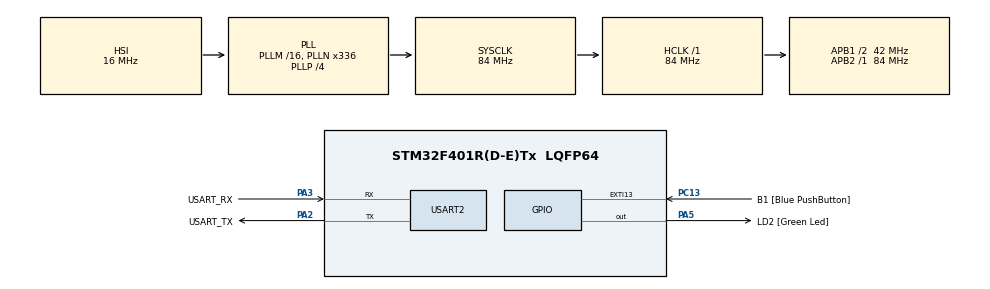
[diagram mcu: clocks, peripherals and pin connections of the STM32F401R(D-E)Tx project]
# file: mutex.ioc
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FREERTOS.Tasks01=defaultTask,0,128,StartDefaultTask,Default,NULL,Dynamic,NULL,NULL
FREERTOS.configUSE_NEWLIB_REENTRANT=1
Mcu.Family=STM32F4
Mcu.Name=STM32F401R(D-E)Tx
Mcu.Package=LQFP64
NVIC.PriorityGroup=NVIC_PRIORITYGROUP_4
NVIC.TIM1_UP_TIM10_IRQn=true\:15\:0\:false\:false\:true\:false\:false\:true\:true
NVIC.TimeBase=TIM1_UP_TIM10_IRQn
NVIC.TimeBaseIP=TIM1
PA13.GPIO_Label=TMS
PA13.Signal=SYS_JTMS-SWDIO
PA14.GPIO_Label=TCK
PA14.Signal=SYS_JTCK-SWCLK
PA2.GPIO_Label=USART_TX
PA2.GPIO_Mode=GPIO_MODE_AF_PP
PA2.GPIO_PuPd=GPIO_NOPULL
PA2.GPIO_Speed=GPIO_SPEED_FREQ_LOW
PA2.Mode=Asynchronous
PA2.Signal=USART2_TX
PA3.GPIO_Label=USART_RX
PA3.GPIO_Mode=GPIO_MODE_AF_PP
PA3.GPIO_PuPd=GPIO_NOPULL
PA3.GPIO_Speed=GPIO_SPEED_FREQ_LOW
PA3.Mode=Asynchronous
PA3.Signal=USART2_RX
PA5.GPIO_Label=LD2 [Green Led]
PA5.GPIO_Mode=GPIO_MODE_OUTPUT_PP
PA5.GPIO_PuPd=GPIO_NOPULL
PA5.GPIO_Speed=GPIO_SPEED_FREQ_LOW
PA5.Signal=GPIO_Output
PB3.GPIO_Label=SWO
PB3.Signal=SYS_JTDO-SWO
PC13-ANTI_TAMP.GPIO_Label=B1 [Blue PushButton]
PC13-ANTI_TAMP.GPIO_ModeDefaultEXTI=GPIO_MODE_IT_FALLING
PC13-ANTI_TAMP.GPIO_PuPd=GPIO_NOPULL
PC13-ANTI_TAMP.Signal=GPXTI13
PC14-OSC32_IN.Signal=RCC_OSC32_IN
PC15-OSC32_OUT.Signal=RCC_OSC32_OUT
PH0\ -\ OSC_IN.Mode=HSE-External-Oscillator
PH0\ -\ OSC_IN.Signal=RCC_OSC_IN
PH1\ -\ OSC_OUT.Mode=HSE-External-Oscillator
PH1\ -\ OSC_OUT.Signal=RCC_OSC_OUT
ProjectManager.HeapSize=0x200
ProjectManager.StackSize=0x400
ProjectManager.TargetToolchain=STM32CubeIDE
RCC.48MHZClocksFreq_Value=48000000
RCC.AHBFreq_Value=84000000
RCC.APB1CLKDivider=RCC_HCLK_DIV2
RCC.APB1Freq_Value=42000000
RCC.APB1TimFreq_Value=84000000
RCC.APB2Freq_Value=84000000
RCC.APB2TimFreq_Value=84000000
RCC.CortexFreq_Value=84000000
RCC.HCLKFreq_Value=84000000
RCC.HSE_VALUE=8000000
RCC.HSI_VALUE=16000000
RCC.PLLN=336
RCC.PLLP=RCC_PLLP_DIV4
RCC.PLLQ=7
RCC.SYSCLKFreq_VALUE=84000000
RCC.SYSCLKSource=RCC_SYSCLKSOURCE_PLLCLK
RCC.VCOOutputFreq_Value=336000000
USART2.VirtualMode=VM_ASYNC
VP_FREERTOS_VS_CMSIS_V1.Mode=CMSIS_V1
VP_SYS_VS_tim1.Mode=TIM1
board=NUCLEO-F401RE

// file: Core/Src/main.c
/* USER CODE BEGIN Header */
/**
  ******************************************************************************
  * @file           : main.c
  * @brief          : Main program body
  ******************************************************************************
  * @attention
  *
  * Copyright (c) 2026 STMicroelectronics.
  * All rights reserved.
  *
  * This software is licensed under terms that can be found in the LICENSE file
  * in the root directory of this software component.
  * If no LICENSE file comes with this software, it is provided AS-IS.
  *
  ******************************************************************************
  */
/* USER CODE END Header */
#include "main.h"
#include "cmsis_os.h"

/* USER CODE BEGIN Includes */
#include "FreeRTOS.h"
#include "task.h"
#include "timers.h"
#include "queue.h"
#include "semphr.h"
#include "event_groups.h"
#include "string.h"
/* USER CODE END Includes */

UART_HandleTypeDef huart2;

osThreadId defaultTaskHandle;

void SystemClock_Config(void);
static void MX_GPIO_Init(void);
static void MX_USART2_UART_Init(void);

/* USER CODE BEGIN 0 */
SemaphoreHandle_t SimpleMutex;
SemaphoreHandle_t BinSempahore;

TaskHandle_t HPT_Handler;
TaskHandle_t MPT_Handler;
TaskHandle_t LPT_Handler;

void HPT_Task (void *argument);
void MPT_Task (void *argument);
void LPT_Task (void *argument);
void Send_Uart (char *str)
{
  xSemaphoreTake(BinSempahore, portMAX_DELAY);
  HAL_Delay(5000);
  HAL_UART_Transmit(&huart2, str, strlen(str), HAL_MAX_DELAY);
  xSemaphoreGive(BinSempahore);
}
/* USER CODE END 0 */

int main(void)
{

  /* MCU Configuration--------------------------------------------------------*/

  /* Reset of all peripherals, Initializes the Flash interface and the Systick. */
  HAL_Init();

  /* Configure the system clock */
  SystemClock_Config();

  /* Initialize all configured peripherals */
  MX_GPIO_Init();
  MX_USART2_UART_Init();
  /* USER CODE BEGIN 2 */
  SimpleMutex = xSemaphoreCreateMutex();
  if (SimpleMutex != NULL)
  {
    HAL_UART_Transmit(&huart2, "Mutex created\r\n", 15, 1000);
  }

  BinSempahore = xSemaphoreCreateBinary();
  if (BinSempahore != NULL)
  {
    HAL_UART_Transmit(&huart2, "Semaphore created\r\n", 15, 1000);
  }

  xSemaphoreGive(BinSemaphore);

  xTaskCreate(HPT_Task, "HPT", 128, NULL, 3, &HPT_Handler);
  xTaskCreate(HPT_Task, "MPT", 128, NULL, 2, &HPT_Handler);
  // xTaskCreate(HPT_Task, "LPT", 128, NULL, 1, &HPT_Handler);
  vTaskStartScheduler();
  /* USER CODE END 2 */

  /* Create the thread(s) */
  /* definition and creation of defaultTask */

  /* Start scheduler */

  /* We should never get here as control is now taken by the scheduler */

  /* Infinite loop */
  while (1)
  {

  }
}

void SystemClock_Config(void)
{
  RCC_OscInitTypeDef RCC_OscInitStruct = {0};
  RCC_ClkInitTypeDef RCC_ClkInitStruct = {0};

  /** Configure the main internal regulator output voltage
  */
  __HAL_RCC_PWR_CLK_ENABLE();
  __HAL_PWR_VOLTAGESCALING_CONFIG(PWR_REGULATOR_VOLTAGE_SCALE2);

  /** Initializes the RCC Oscillators according to the specified parameters
  * in the RCC_OscInitTypeDef structure.
  */
  RCC_OscInitStruct.OscillatorType = RCC_OSCILLATORTYPE_HSI;
  RCC_OscInitStruct.HSIState = RCC_HSI_ON;
  RCC_OscInitStruct.HSICalibrationValue = RCC_HSICALIBRATION_DEFAULT;
  RCC_OscInitStruct.PLL.PLLState = RCC_PLL_ON;
  RCC_OscInitStruct.PLL.PLLSource = RCC_PLLSOURCE_HSI;
  RCC_OscInitStruct.PLL.PLLM = 16;
  RCC_OscInitStruct.PLL.PLLN = 336;
  RCC_OscInitStruct.PLL.PLLP = RCC_PLLP_DIV4;
  RCC_OscInitStruct.PLL.PLLQ = 7;
  if (HAL_RCC_OscConfig(&RCC_OscInitStruct) != HAL_OK)
  {
    Error_Handler();
  }

  /** Initializes the CPU, AHB and APB buses clocks
  */
  RCC_ClkInitStruct.ClockType = RCC_CLOCKTYPE_HCLK|RCC_CLOCKTYPE_SYSCLK
                              |RCC_CLOCKTYPE_PCLK1|RCC_CLOCKTYPE_PCLK2;
  RCC_ClkInitStruct.SYSCLKSource = RCC_SYSCLKSOURCE_PLLCLK;
  RCC_ClkInitStruct.AHBCLKDivider = RCC_SYSCLK_DIV1;
  RCC_ClkInitStruct.APB1CLKDivider = RCC_HCLK_DIV2;
  RCC_ClkInitStruct.APB2CLKDivider = RCC_HCLK_DIV1;

  if (HAL_RCC_ClockConfig(&RCC_ClkInitStruct, FLASH_LATENCY_2) != HAL_OK)
  {
    Error_Handler();
  }
}

static void MX_USART2_UART_Init(void)
{

  huart2.Instance = USART2;
  huart2.Init.BaudRate = 115200;
  huart2.Init.WordLength = UART_WORDLENGTH_8B;
  huart2.Init.StopBits = UART_STOPBITS_1;
  huart2.Init.Parity = UART_PARITY_NONE;
  huart2.Init.Mode = UART_MODE_TX_RX;
  huart2.Init.HwFlowCtl = UART_HWCONTROL_NONE;
  huart2.Init.OverSampling = UART_OVERSAMPLING_16;
  if (HAL_UART_Init(&huart2) != HAL_OK)
  {
    Error_Handler();
  }

}

static void MX_GPIO_Init(void)
{
  GPIO_InitTypeDef GPIO_InitStruct = {0};

  /* GPIO Ports Clock Enable */
  __HAL_RCC_GPIOC_CLK_ENABLE();
  __HAL_RCC_GPIOH_CLK_ENABLE();
  __HAL_RCC_GPIOA_CLK_ENABLE();
  __HAL_RCC_GPIOB_CLK_ENABLE();

  /*Configure GPIO pin Output Level */
  HAL_GPIO_WritePin(LD2_GPIO_Port, LD2_Pin, GPIO_PIN_RESET);

  /*Configure GPIO pin : B1_Pin */
  GPIO_InitStruct.Pin = B1_Pin;
  GPIO_InitStruct.Mode = GPIO_MODE_IT_FALLING;
  GPIO_InitStruct.Pull = GPIO_NOPULL;
  HAL_GPIO_Init(B1_GPIO_Port, &GPIO_InitStruct);

  /*Configure GPIO pin : LD2_Pin */
  GPIO_InitStruct.Pin = LD2_Pin;
  GPIO_InitStruct.Mode = GPIO_MODE_OUTPUT_PP;
  GPIO_InitStruct.Pull = GPIO_NOPULL;
  GPIO_InitStruct.Speed = GPIO_SPEED_FREQ_LOW;
  HAL_GPIO_Init(LD2_GPIO_Port, &GPIO_InitStruct);

}

/* USER CODE BEGIN 4 */
void HPT_Task (void *argument)
{
  char *strtosend = "--------- HPT ---------";
  while (1)
  {
    char *str = "Enter HPT and about to take sem\r\n";
    HAL_UART_Transmit(&huart2, str, strlen(str), HAL_MAX_DELAY);
    Send_Uart(strtosend);
    char *str2 = "Leaving HPT\r\n";
    HAL_UART_Transmit(&huart2, str2, strlen(str2), HAL_MAX_DELAY);
    vTaskDelay(750);
  }
}
void MPT_Task (void *argument)
{
  char *strtosend = "--------- MPT ---------";
  while (1)
  {
    char *str = "Enter MPT and about to take sem\r\n";
    HAL_UART_Transmit(&huart2, str, strlen(str), HAL_MAX_DELAY);
    Send_Uart(strtosend);
    char *str2 = "Leaving MPT\r\n";
    HAL_UART_Transmit(&huart2, str2, strlen(str2), HAL_MAX_DELAY);
    vTaskDelay(2000);
  }
}

void LPT_Task (void *argument)
{
  char *strtosend = "--------- LPT ---------";
  while (1)
  {
    char *str = "Enter LPT and about to take sem\r\n";
    HAL_UART_Transmit(&huart2, str, strlen(str), HAL_MAX_DELAY);
    Send_Uart(strtosend);
    char *str2 = "LPTT\r\n";
    HAL_UART_Transmit(&huart2, str2, strlen(str2), HAL_MAX_DELAY);
    vTaskDelay(1000);
  }
}
/* USER CODE END 4 */

void StartDefaultTask(void const * argument)
{
  for(;;)
  {
    osDelay(1);
  }
}

void HAL_TIM_PeriodElapsedCallback(TIM_HandleTypeDef *htim)
{
  if (htim->Instance == TIM1)
  {
    HAL_IncTick();
  }
}

void Error_Handler(void)
{
  __disable_irq();
  while (1)
  {
  }
}
